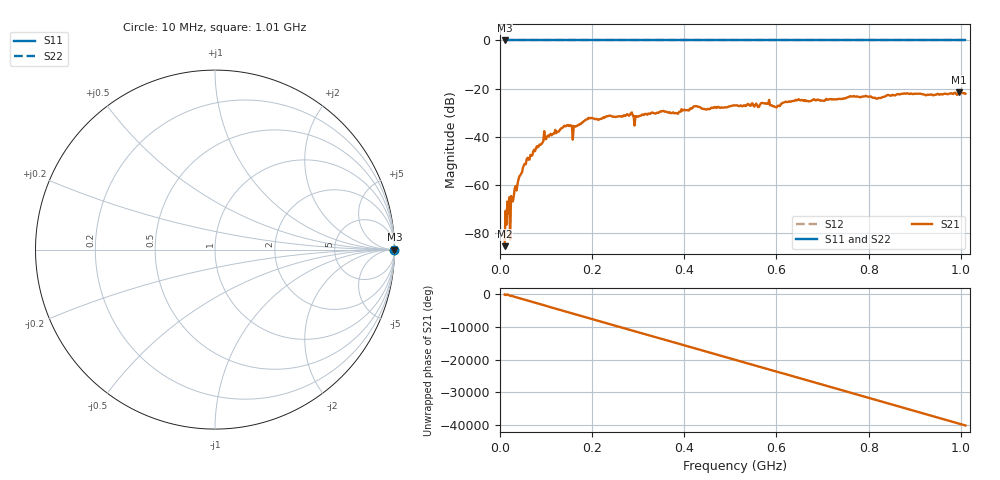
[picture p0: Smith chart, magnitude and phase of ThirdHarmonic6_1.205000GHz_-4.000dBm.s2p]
! 8/16/2025 12:30:19 PM
! C:\ANRITSUVNA\TEMP\TEMP.S2P
! CHANNEL.1
! TR.MEASUREMENT
! RAW.DATA
! RF.CORRECTION.OFF
! AVERAGING.OFF
! IF.BANDWIDTH: 5KHZ
! SWEEPTYPE:  FREQ.SWEEP(Linear)
! Reference Plane Port Info
! PORT:  PORT1  PORT2
! DISTANCE:  0  m  0  m
! TIME:  0  s  0  s
! PHASE.OFFSET:  0  deg.  0  deg.
! LOSS:  0  dB  0  dB
! REF.LOSS:  0  dB  0  dB
! REF.FREQ:  0  Hz  0  Hz
! Power Info
! POWER:  -20  dBm  -20  dBm
! EFF.POWER:  -20  dBm  -20  dBm
! SOURCE.ATTEN:  0  dB  0  dB
! TEST.ATTEN:  0  dB  0  dB
# GHZ S RI R 50.0
! FREQ.GHZ  S11RE  S11IM  S21RE  S21IM  S12RE  S12IM  S22RE  S22IM
!; PortSelection: Port_12
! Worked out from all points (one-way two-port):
!   501 points, 10 MHz to 1.01 GHz, reference 50 ohm
!   highest |S21| = -21.60 dB at 996 MHz (marker M1); lowest = -85.5 dB at 10 MHz (marker M2)
!   lowest |S11| = 0.0 dB at 10 MHz (marker M3)
!   |S11| at or under -10 dB: nowhere
!   |S22| runs from 0.0 to 0.0 dB; largest |S21 - S12| = 1.1
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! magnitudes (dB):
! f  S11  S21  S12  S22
! 10 MHz  0.0  -85.5  0.0  0.0
! 16 MHz  0.0  -67.0  0.0  0.0
! 18 MHz  0.0  -71.8  0.0  0.0
! 20 MHz  0.0  -65.2  0.0  0.0
! 26 MHz  0.0  -66.6  0.0  0.0
! 28 MHz  0.0  -67.0  0.0  0.0
! 46 MHz  0.0  -55.4  0.0  0.0
! 76 MHz  0.0  -46.0  0.0  0.0
! 100 MHz  0.0  -41.0  0.0  0.0
! 162 MHz  0.0  -35.7  0.0  0.0
! 178 MHz  0.0  -34.2  0.0  0.0
! 196 MHz  0.0  -32.2  0.0  0.0
! 282 MHz  0.0  -30.8  0.0  0.0
! 296 MHz  0.0  -31.5  0.0  0.0
! 344 MHz  0.0  -30.1  0.0  0.0
! 510 MHz  0.0  -27.0  0.0  0.0
! 580 MHz  0.0  -26.3  0.0  0.0
! 598 MHz  0.0  -27.7  0.0  0.0
! 678 MHz  0.0  -24.8  0.0  0.0
! 844 MHz  0.0  -22.7  0.0  0.0
! 996 MHz  0.0  -21.6  0.0  0.0
! 1.01 GHz  0.0  -22.1  0.0  0.0
